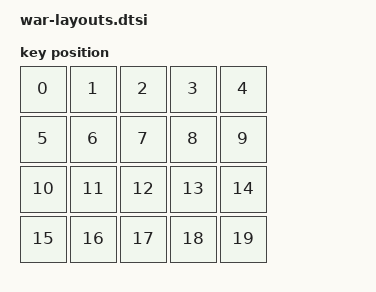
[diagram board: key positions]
// See https://zmk.dev/docs/development/hardware-integration/physical-layouts
// for how to configure this.

#include <physical_layouts.dtsi>

/ {
    default_layout: default_layout {
        compatible = "zmk,physical-layout";
        display-name = "Default Layout";
        transform = <&default_transform>;
        kscan = <&kscan>;

        // Keys in the same order as the transform map. Position number =
        // index into this list = index of the matching RC() in the map.
        // 5 columns x 4 rows. SW1/SW2 encoder push switches sit on Row_0/1
        // in column 4; the 5-way hat spans the bottom row; the Row_2 x Col_4
        // cell is unpopulated (position 14).
        keys  //                     w   h    x    y     rot    rx    ry
            = <&key_physical_attrs 100 100    0    0       0     0     0>
            , <&key_physical_attrs 100 100  100    0       0     0     0>
            , <&key_physical_attrs 100 100  200    0       0     0     0>
            , <&key_physical_attrs 100 100  300    0       0     0     0>
            , <&key_physical_attrs 100 100  400    0       0     0     0>
            , <&key_physical_attrs 100 100    0  100       0     0     0>
            , <&key_physical_attrs 100 100  100  100       0     0     0>
            , <&key_physical_attrs 100 100  200  100       0     0     0>
            , <&key_physical_attrs 100 100  300  100       0     0     0>
            , <&key_physical_attrs 100 100  400  100       0     0     0>
            , <&key_physical_attrs 100 100    0  200       0     0     0>
            , <&key_physical_attrs 100 100  100  200       0     0     0>
            , <&key_physical_attrs 100 100  200  200       0     0     0>
            , <&key_physical_attrs 100 100  300  200       0     0     0>
            , <&key_physical_attrs 100 100  400  200       0     0     0>
            , <&key_physical_attrs 100 100    0  300       0     0     0>
            , <&key_physical_attrs 100 100  100  300       0     0     0>
            , <&key_physical_attrs 100 100  200  300       0     0     0>
            , <&key_physical_attrs 100 100  300  300       0     0     0>
            , <&key_physical_attrs 100 100  400  300       0     0     0>
            ;
    };
};
